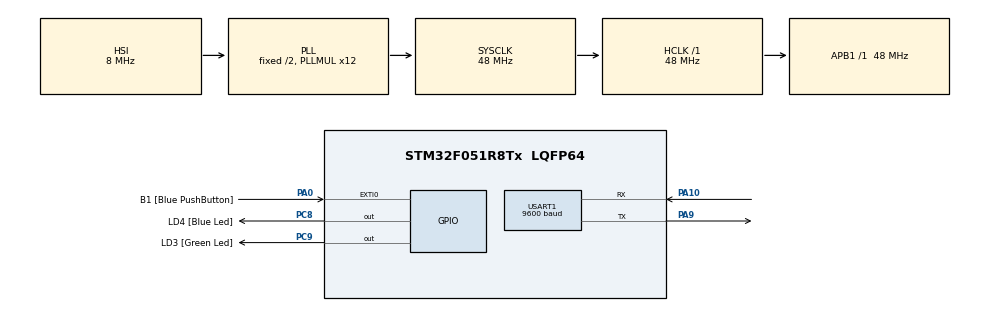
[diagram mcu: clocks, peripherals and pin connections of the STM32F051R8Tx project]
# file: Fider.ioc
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Mcu.Family=STM32F0
Mcu.Name=STM32F051R8Tx
Mcu.Package=LQFP64
NVIC.USART1_IRQn=true\:0\:0\:false\:false\:true\:true
PA0.GPIO_Label=B1 [Blue PushButton]
PA0.GPIO_ModeDefaultEXTI=GPIO_MODE_EVT_RISING
PA0.Signal=GPXTI0
PA10.Mode=Asynchronous
PA10.Signal=USART1_RX
PA13.GPIO_Label=SWDIO
PA13.Mode=Serial_Wire
PA13.Signal=SYS_SWDIO
PA14.GPIO_Label=SWCLK
PA14.Mode=Serial_Wire
PA14.Signal=SYS_SWCLK
PA9.Mode=Asynchronous
PA9.Signal=USART1_TX
PC8.GPIO_Label=LD4 [Blue Led]
PC8.Signal=GPIO_Output
PC9.GPIO_Label=LD3 [Green Led]
PC9.Signal=GPIO_Output
ProjectManager.HeapSize=0x200
ProjectManager.StackSize=0x400
ProjectManager.TargetToolchain=MDK-ARM V5
RCC.AHBFreq_Value=48000000
RCC.APB1Freq_Value=48000000
RCC.APB1TimFreq_Value=48000000
RCC.HCLKFreq_Value=48000000
RCC.PLLMUL=RCC_PLL_MUL12
RCC.SYSCLKFreq_VALUE=48000000
RCC.SYSCLKSource=RCC_SYSCLKSOURCE_PLLCLK
USART1.BaudRate=9600
USART1.VirtualMode-Asynchronous=VM_ASYNC
board=STM32F0DISCOVERY

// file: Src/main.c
/**
  ******************************************************************************
  * @file           : main.c
  * @brief          : Main program body
  ******************************************************************************
  ** This notice applies to any and all portions of this file
  * that are not between comment pairs USER CODE BEGIN and
  * USER CODE END. Other portions of this file, whether
  * inserted by the user or by software development tools
  * are owned by their respective copyright owners.
  *
  * COPYRIGHT(c) 2018 STMicroelectronics
  *
  * Redistribution and use in source and binary forms, with or without modification,
  * are permitted provided that the following conditions are met:
  *   1. Redistributions of source code must retain the above copyright notice,
  *      this list of conditions and the following disclaimer.
  *   2. Redistributions in binary form must reproduce the above copyright notice,
  *      this list of conditions and the following disclaimer in the documentation
  *      and/or other materials provided with the distribution.
  *   3. Neither the name of STMicroelectronics nor the names of its contributors
  *      may be used to endorse or promote products derived from this software
  *      without specific prior written permission.
  *
  * THIS SOFTWARE IS PROVIDED BY THE COPYRIGHT HOLDERS AND CONTRIBUTORS "AS IS"
  * AND ANY EXPRESS OR IMPLIED WARRANTIES, INCLUDING, BUT NOT LIMITED TO, THE
  * IMPLIED WARRANTIES OF MERCHANTABILITY AND FITNESS FOR A PARTICULAR PURPOSE ARE
  * DISCLAIMED. IN NO EVENT SHALL THE COPYRIGHT HOLDER OR CONTRIBUTORS BE LIABLE
  * FOR ANY DIRECT, INDIRECT, INCIDENTAL, SPECIAL, EXEMPLARY, OR CONSEQUENTIAL
  * DAMAGES (INCLUDING, BUT NOT LIMITED TO, PROCUREMENT OF SUBSTITUTE GOODS OR
  * SERVICES; LOSS OF USE, DATA, OR PROFITS; OR BUSINESS INTERRUPTION) HOWEVER
  * CAUSED AND ON ANY THEORY OF LIABILITY, WHETHER IN CONTRACT, STRICT LIABILITY,
  * OR TORT (INCLUDING NEGLIGENCE OR OTHERWISE) ARISING IN ANY WAY OUT OF THE USE
  * OF THIS SOFTWARE, EVEN IF ADVISED OF THE POSSIBILITY OF SUCH DAMAGE.
  *
  ******************************************************************************
  */
#include "main.h"
#include "stm32f0xx_hal.h"
#include <stdio.h>

UART_HandleTypeDef huart1;

/* USER CODE BEGIN PV */
/* Private variables ---------------------------------------------------------*/
int lenght;
char buffer[100];
char Rx_indx, Rx_data[2],Rx_Buffer[100],Transfer_cplt;
/* USER CODE END PV */

void SystemClock_Config(void);
static void MX_GPIO_Init(void);
static void MX_USART1_UART_Init(void);

/* USER CODE BEGIN PFP */
/* Private function prototypes -----------------------------------------------*/
void HAL_UART_RxCpltCallback(UART_HandleTypeDef *huart)
{
    uint8_t i;
    if (huart->Instance == USART1)  //current UART
        {
        if (Rx_indx==0) {for (i=0;i<100;i++) Rx_Buffer[i]=0;}   //clear Rx_Buffer before receiving new data

        if (Rx_data[0]!=13) //if received data different from ascii 13 (enter)
            {
            Rx_Buffer[Rx_indx++]=Rx_data[0];    //add data to Rx_Buffer
            }
        else            //if received data = 13
            {
            Rx_indx=0;
            Transfer_cplt=1;//transfer complete, data is ready to read
            }

        HAL_UART_Receive_IT(&huart1, Rx_data, 1);   //activate UART receive interrupt every time
        }
}
/* USER CODE END PFP */

int main(void)
{

  /* MCU Configuration----------------------------------------------------------*/

  /* Reset of all peripherals, Initializes the Flash interface and the Systick. */
  HAL_Init();

  /* Configure the system clock */
  SystemClock_Config();

  /* Initialize all configured peripherals */
  MX_GPIO_Init();
  MX_USART1_UART_Init();
  /* USER CODE BEGIN 2 */

	// activate uart rx interrupt every time receiving 1 byte
	HAL_UART_Receive_IT(&huart1, Rx_data, 1);

  /* USER CODE END 2 */

  /* Infinite loop */
  /* USER CODE BEGIN WHILE */
  while (1)
  {
			if(Transfer_cplt)
			{
				sprintf(buffer,"%s\r\n",Rx_Buffer);
				//sprintf(buffer,"oldu");
				lenght = strlen(buffer);
				HAL_UART_Transmit(&huart1,buffer,lenght,1000);
				Transfer_cplt = 0;
				HAL_GPIO_TogglePin(GPIOC,GPIO_PIN_9);
				HAL_GPIO_TogglePin(GPIOC, GPIO_PIN_8);
				HAL_Delay(500);
			}

//	  while (1)
//  {
//				sprintf(buffer,"Hello");
//				lenght = strlen(buffer);
//				HAL_UART_Transmit(&huart1,buffer,lenght,1000);
//				HAL_Delay(500);
//	}
  /* USER CODE END WHILE */

  }

}

void SystemClock_Config(void)
{

  RCC_OscInitTypeDef RCC_OscInitStruct;
  RCC_ClkInitTypeDef RCC_ClkInitStruct;
  RCC_PeriphCLKInitTypeDef PeriphClkInit;

    /**Initializes the CPU, AHB and APB busses clocks
    */
  RCC_OscInitStruct.OscillatorType = RCC_OSCILLATORTYPE_HSI;
  RCC_OscInitStruct.HSIState = RCC_HSI_ON;
  RCC_OscInitStruct.HSICalibrationValue = 16;
  RCC_OscInitStruct.PLL.PLLState = RCC_PLL_ON;
  RCC_OscInitStruct.PLL.PLLSource = RCC_PLLSOURCE_HSI;
  RCC_OscInitStruct.PLL.PLLMUL = RCC_PLL_MUL12;
  RCC_OscInitStruct.PLL.PREDIV = RCC_PREDIV_DIV1;
  if (HAL_RCC_OscConfig(&RCC_OscInitStruct) != HAL_OK)
  {
    _Error_Handler(__FILE__, __LINE__);
  }

    /**Initializes the CPU, AHB and APB busses clocks
    */
  RCC_ClkInitStruct.ClockType = RCC_CLOCKTYPE_HCLK|RCC_CLOCKTYPE_SYSCLK
                              |RCC_CLOCKTYPE_PCLK1;
  RCC_ClkInitStruct.SYSCLKSource = RCC_SYSCLKSOURCE_PLLCLK;
  RCC_ClkInitStruct.AHBCLKDivider = RCC_SYSCLK_DIV1;
  RCC_ClkInitStruct.APB1CLKDivider = RCC_HCLK_DIV1;

  if (HAL_RCC_ClockConfig(&RCC_ClkInitStruct, FLASH_LATENCY_1) != HAL_OK)
  {
    _Error_Handler(__FILE__, __LINE__);
  }

  PeriphClkInit.PeriphClockSelection = RCC_PERIPHCLK_USART1;
  PeriphClkInit.Usart1ClockSelection = RCC_USART1CLKSOURCE_PCLK1;
  if (HAL_RCCEx_PeriphCLKConfig(&PeriphClkInit) != HAL_OK)
  {
    _Error_Handler(__FILE__, __LINE__);
  }

    /**Configure the Systick interrupt time
    */
  HAL_SYSTICK_Config(HAL_RCC_GetHCLKFreq()/1000);

    /**Configure the Systick
    */
  HAL_SYSTICK_CLKSourceConfig(SYSTICK_CLKSOURCE_HCLK);

  /* SysTick_IRQn interrupt configuration */
  HAL_NVIC_SetPriority(SysTick_IRQn, 0, 0);
}

/* USART1 init function */
static void MX_USART1_UART_Init(void)
{

  huart1.Instance = USART1;
  huart1.Init.BaudRate = 9600;
  huart1.Init.WordLength = UART_WORDLENGTH_8B;
  huart1.Init.StopBits = UART_STOPBITS_1;
  huart1.Init.Parity = UART_PARITY_NONE;
  huart1.Init.Mode = UART_MODE_TX_RX;
  huart1.Init.HwFlowCtl = UART_HWCONTROL_NONE;
  huart1.Init.OverSampling = UART_OVERSAMPLING_16;
  huart1.Init.OneBitSampling = UART_ONE_BIT_SAMPLE_DISABLE;
  huart1.AdvancedInit.AdvFeatureInit = UART_ADVFEATURE_NO_INIT;
  if (HAL_UART_Init(&huart1) != HAL_OK)
  {
    _Error_Handler(__FILE__, __LINE__);
  }

}

/** Configure pins as
        * Analog
        * Input
        * Output
        * EVENT_OUT
        * EXTI
*/
static void MX_GPIO_Init(void)
{

  GPIO_InitTypeDef GPIO_InitStruct;

  /* GPIO Ports Clock Enable */
  __HAL_RCC_GPIOA_CLK_ENABLE();
  __HAL_RCC_GPIOC_CLK_ENABLE();

  /*Configure GPIO pin Output Level */
  HAL_GPIO_WritePin(GPIOC, LD4_Pin|LD3_Pin, GPIO_PIN_RESET);

  /*Configure GPIO pin : B1_Pin */
  GPIO_InitStruct.Pin = B1_Pin;
  GPIO_InitStruct.Mode = GPIO_MODE_EVT_RISING;
  GPIO_InitStruct.Pull = GPIO_NOPULL;
  HAL_GPIO_Init(B1_GPIO_Port, &GPIO_InitStruct);

  /*Configure GPIO pins : LD4_Pin LD3_Pin */
  GPIO_InitStruct.Pin = LD4_Pin|LD3_Pin;
  GPIO_InitStruct.Mode = GPIO_MODE_OUTPUT_PP;
  GPIO_InitStruct.Pull = GPIO_NOPULL;
  GPIO_InitStruct.Speed = GPIO_SPEED_FREQ_LOW;
  HAL_GPIO_Init(GPIOC, &GPIO_InitStruct);

}

void _Error_Handler(char *file, int line)
{
  while(1)
  {
  }
}

/************************ (C) COPYRIGHT STMicroelectronics *****END OF FILE****/
